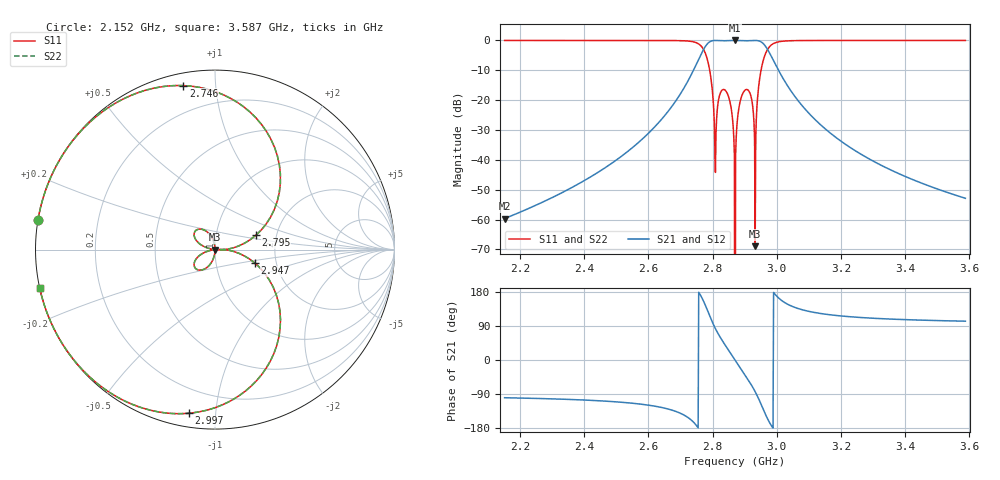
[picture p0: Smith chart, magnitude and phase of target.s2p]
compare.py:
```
"""Overlay CST simulation results, openEMS results, and synthesis target.

Reads:
  - `S ParametersV1.txt` (CST tabular export, two blocks S11/S21, already in dB)
  - `target.s2p`  (scikit-rf Touchstone, synthesis)
  - `openems.s2p` (scikit-rf Touchstone, openEMS FDTD)  -- optional

Usage:
  uv run python compare.py                          # CST + target
  uv run python compare.py --oems openems.s2p       # all three
  uv run python compare.py --no-cst                 # openEMS + target only
"""

from __future__ import annotations

import argparse
import os
import re

import matplotlib
matplotlib.use("Agg")
import matplotlib.pyplot as plt
import numpy as np
import skrf

from config import out_s2p, out_img

PROJ = os.path.dirname(os.path.abspath(__file__))


def _parse_cst_txt(path: str) -> dict[str, tuple[np.ndarray, np.ndarray]]:
    """Parse CST tabular S-parameter export (GHz, values already in dB)."""
    blocks: dict[str, tuple[list, list]] = {}
    key = None
    freqs: list[float] = []
    vals: list[float] = []

    with open(path) as fh:
        for line in fh:
            line = line.strip()
            if not line:
                continue
            m = re.search(r'S(\d+),(\d+)', line)
            if m and line.startswith('#'):
                if key and freqs:
                    blocks[key] = (np.array(freqs) * 1e9, np.array(vals))
                key = f"S{m.group(1)}{m.group(2)}"
                freqs, vals = [], []
                continue
            if key and not line.startswith('#'):
                parts = line.split()
                if len(parts) == 2:
                    try:
                        freqs.append(float(parts[0]))
                        vals.append(float(parts[1]))
                    except ValueError:
                        pass
    if key and freqs:
        blocks[key] = (np.array(freqs) * 1e9, np.array(vals))
    return blocks


def _to_db(mag_lin: np.ndarray) -> np.ndarray:
    """Convert linear magnitude to dB (used for .s2p networks only)."""
    return 20.0 * np.log10(np.clip(np.abs(mag_lin), 1e-12, None))


def _metrics(label: str, f: np.ndarray, s11_db: np.ndarray,
             s21_db: np.ndarray, f0: float, f1: float, f2: float) -> None:
    print(f"\n  [{label}]")
    in_band = (f >= f1) & (f <= f2)
    if in_band.any() and s21_db is not None:
        il = -np.max(s21_db[in_band])
        print(f"    insertion loss in passband : {il:.2f} dB")
    if s21_db is not None:
        peak = np.max(s21_db)
        cross = np.where(np.diff((s21_db > peak - 3).astype(int)))[0]
        if len(cross) >= 2:
            bw = (f[cross[-1]] - f[cross[0]]) / 1e6
            fc = (f[cross[-1]] + f[cross[0]]) / 2e9
            print(f"    -3dB centre / BW           : {fc:.3f} GHz / {bw:.0f} MHz")
    if in_band.any() and s11_db is not None:
        rl = -np.max(s11_db[in_band])
        print(f"    return loss in passband    : {rl:.2f} dB")


def compare(cst_path: str | None, target_path: str,
            oems_path: str | None = None, out: str = "compare.png") -> None:
    from config import SPEC
    f0, f1, f2 = SPEC.f0, SPEC.f1, SPEC.f2

    # ---- load data ------------------------------------------------------
    cst = _parse_cst_txt(cst_path) if cst_path and os.path.exists(cst_path) else {}
    tgt = skrf.Network(target_path)
    oems = skrf.Network(oems_path) if oems_path and os.path.exists(oems_path) else None

    colors = {"target": "#d62728", "cst": "#1f77b4", "oems": "#2ca02c"}

    # ---- plot -----------------------------------------------------------
    fig, axes = plt.subplots(2, 1, figsize=(10, 7), sharex=True)

    for ax_idx, (param, i, j) in enumerate([("S11", 0, 0), ("S21", 1, 0)]):
        ax = axes[ax_idx]

        # Target (dashed red)
        tgt_db = _to_db(tgt.s[:, i, j])
        ax.plot(tgt.f / 1e9, tgt_db, color=colors["target"],
                lw=1.2, ls="--", label="Target (synthesis)")

        # CST (solid blue)
        if param in cst:
            f_c, db_c = cst[param]
            ax.plot(f_c / 1e9, db_c, color=colors["cst"],
                    lw=1.5, label="CST simulation")

        # openEMS (dash-dot green)
        if oems is not None:
            oems_db = _to_db(oems.s[:, i, j])
            ax.plot(oems.f / 1e9, oems_db, color=colors["oems"],
                    lw=1.5, ls="-.", label="openEMS FDTD")

        ax.set_ylabel(f"|{param}| [dB]")
        ax.set_ylim(-60, 5)
        ax.grid(True, alpha=0.3)
        ax.legend(fontsize=9)
        ax.axvline(f1 / 1e9, color="0.5", ls=":", lw=0.8)
        ax.axvline(f2 / 1e9, color="0.5", ls=":", lw=0.8)
        ax.axvspan(f1 / 1e9, f2 / 1e9, alpha=0.06, color="green")
        ax.set_title(f"|{param}|", fontsize=10, loc="left")

    axes[-1].set_xlabel("Frequency [GHz]")
    sources = ["Target"]
    if cst: sources.append("CST")
    if oems: sources.append("openEMS")
    fig.suptitle(f"SIW BPF — {' vs '.join(sources)}   "
                 f"(f0={f0/1e9:.3f} GHz, N={SPEC.N}, FBW={SPEC.FBW*100:.0f}%)",
                 fontsize=11)
    fig.tight_layout()
    fig.savefig(out, dpi=130)
    print(f"Saved {out}")

    # ---- metrics --------------------------------------------------------
    print(f"\n=== Metrics (target passband {f1/1e9:.3f}–{f2/1e9:.3f} GHz) ===")
    _metrics("Target", tgt.f,
             _to_db(tgt.s[:, 0, 0]), _to_db(tgt.s[:, 1, 0]), f0, f1, f2)
    if "S11" in cst and "S21" in cst:
        _metrics("CST", cst["S11"][0], cst["S11"][1], cst["S21"][1], f0, f1, f2)
    if oems is not None:
        _metrics("openEMS", oems.f,
                 _to_db(oems.s[:, 0, 0]), _to_db(oems.s[:, 1, 0]), f0, f1, f2)


if __name__ == "__main__":
    ap = argparse.ArgumentParser()
    ap.add_argument("--cst", default=os.path.join(PROJ, "cst_data", "S ParametersV1.txt"),
                    help="CST tabular export (.txt) — user-provided input in cst_data/")
    ap.add_argument("--no-cst", action="store_true", help="skip CST data")
    ap.add_argument("--target", default=out_s2p("target.s2p"))
    ap.add_argument("--oems", default=out_s2p("openems.s2p"),
                    help="openEMS touchstone output")
    ap.add_argument("--out", default=out_img("compare.png"))
    args = ap.parse_args()

    cst_path = None if args.no_cst else args.cst
    oems_path = args.oems if os.path.exists(args.oems) else None
    if oems_path is None and not args.no_cst:
        print(f"(openems.s2p not found — run openems_sim.py --fast to generate it)")

    compare(cst_path, args.target, oems_path, args.out)
```
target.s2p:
! Created with skrf 1.12.0 (http://scikit-rf.org).
! Data is not renormalized
! S-parameter uses the power definition
# Hz S RI R
!freq ReS11 ImS11 ReS21 ImS21 ReS12 ImS12 ReS22 ImS22
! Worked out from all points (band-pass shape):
!   801 points, 2.152 GHz to 3.587 GHz, reference per port
!   highest |S21| = 0.00 dB at 2.87 GHz (marker M1); lowest = -59.7 dB at 2.152 GHz (marker M2)
!   |S21| within 3 dB of the highest: 2.772 GHz to 2.971 GHz (199.2 MHz wide, 6.94 % of centre)
!   lowest |S11| = -68.9 dB at 2.933 GHz (marker M3), VSWR 1.00
!   |S11| at or under -10 dB: 2.791 GHz to 2.951 GHz (159.8 MHz wide, 5.57 % of centre)
!   |S22| runs from - to 0.0 dB; largest |S21 - S12| = 0
!   S11 on the Smith chart (normalised r, x): 2.152 GHz: 0.00, +0.08; 2.746 GHz: 0.06, +0.82; 2.795 GHz: 1.56, +0.26; 2.947 GHz: 1.55, -0.25; 2.997 GHz: 0.07, -0.85; 3.587 GHz: 0.00, -0.11
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2.1525e9  -0.9861 0.1661  -0.000172 -0.00102  -0.000172 -0.00102  -0.9861 0.1661
! Port Impedance 50.00000000000000 0.00000000000000 50.00000000000000 0.00000000000000
2.746231e9  -0.1767 0.9137  -0.3593 -0.0695  -0.3593 -0.0695  -0.1767 0.9137
2.794662e9  0.2276 0.0797  -0.3206 0.916  -0.3206 0.916  0.2276 0.0797
2.809012e9  -0.0061 0.000776  0.1261 0.992  0.1261 0.992  -0.0061 0.000776
2.848475e9  -0.0558 0.1066  0.8797 0.46  0.8797 0.46  -0.0558 0.1066
2.87e9  0 0  1 -0  1 -0  0 0
2.900494e9  -0.0913 -0.1138  0.7717 -0.6191  0.7717 -0.6191  -0.0913 -0.1138
2.932781e9  -0.000355 -4.04e-05  0.1131 -0.9936  0.1131 -0.9936  -0.000355 -4.04e-05
2.947131e9  0.2237 -0.0763  -0.3137 -0.9196  -0.3137 -0.9196  0.2237 -0.0763
2.997356e9  -0.1462 -0.9118  -0.379 0.0608  -0.379 0.0608  -0.1462 -0.9118
3.5875e9  -0.9766 -0.2152  -0.000488 0.00221  -0.000488 0.00221  -0.9766 -0.2152
